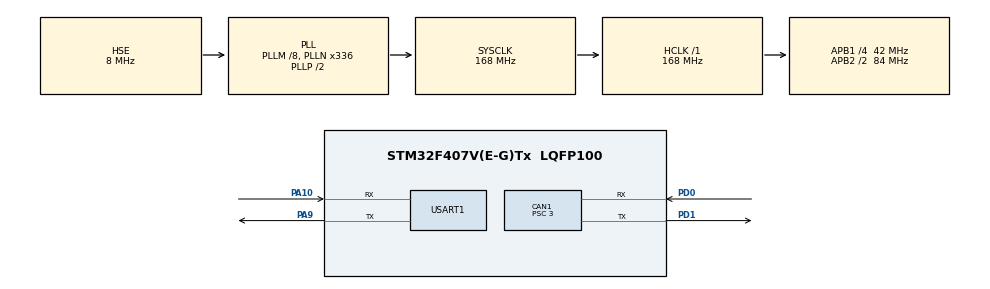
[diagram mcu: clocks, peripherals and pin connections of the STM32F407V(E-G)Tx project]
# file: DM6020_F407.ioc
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CAN1.ABOM=ENABLE
CAN1.BS1=CAN_BS1_11TQ
CAN1.BS2=CAN_BS2_2TQ
CAN1.CalculateBaudRate=1000000
CAN1.CalculateTimeBit=1000
CAN1.CalculateTimeQuantum=71.42857142857143
CAN1.NART=ENABLE
CAN1.Prescaler=3
Mcu.Family=STM32F4
Mcu.Name=STM32F407V(E-G)Tx
Mcu.Package=LQFP100
NVIC.CAN1_RX0_IRQn=true\:0\:0\:false\:false\:true\:true\:true\:true
NVIC.PriorityGroup=NVIC_PRIORITYGROUP_4
PA10.Mode=Asynchronous
PA10.Signal=USART1_RX
PA13.Mode=Serial_Wire
PA13.Signal=SYS_JTMS-SWDIO
PA14.Mode=Serial_Wire
PA14.Signal=SYS_JTCK-SWCLK
PA9.Mode=Asynchronous
PA9.Signal=USART1_TX
PD0.Mode=CAN_Activate
PD0.Signal=CAN1_RX
PD1.Mode=CAN_Activate
PD1.Signal=CAN1_TX
PH0-OSC_IN.Mode=HSE-External-Oscillator
PH0-OSC_IN.Signal=RCC_OSC_IN
PH1-OSC_OUT.Mode=HSE-External-Oscillator
PH1-OSC_OUT.Signal=RCC_OSC_OUT
ProjectManager.HeapSize=0x200
ProjectManager.StackSize=0x400
ProjectManager.TargetToolchain=STM32CubeIDE
RCC.48MHZClocksFreq_Value=84000000
RCC.AHBFreq_Value=168000000
RCC.APB1CLKDivider=RCC_HCLK_DIV4
RCC.APB1Freq_Value=42000000
RCC.APB1TimFreq_Value=84000000
RCC.APB2CLKDivider=RCC_HCLK_DIV2
RCC.APB2Freq_Value=84000000
RCC.APB2TimFreq_Value=168000000
RCC.CortexFreq_Value=168000000
RCC.HCLKFreq_Value=168000000
RCC.HSE_VALUE=8000000
RCC.HSI_VALUE=16000000
RCC.LSE_VALUE=32768
RCC.PLLM=8
RCC.PLLN=336
RCC.PLLSourceVirtual=RCC_PLLSOURCE_HSE
RCC.SYSCLKFreq_VALUE=168000000
RCC.SYSCLKSource=RCC_SYSCLKSOURCE_PLLCLK
RCC.VCOOutputFreq_Value=336000000
USART1.VirtualMode=VM_ASYNC
board=custom

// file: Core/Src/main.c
/* USER CODE BEGIN Header */
/**
  ******************************************************************************
  * @file           : main.c
  * @brief          : Main program body
  ******************************************************************************
  * @attention
  *
  * Copyright (c) 2026 STMicroelectronics.
  * All rights reserved.
  *
  * This software is licensed under terms that can be found in the LICENSE file
  * in the root directory of this software component.
  * If no LICENSE file comes with this software, it is provided AS-IS.
  *
  ******************************************************************************
  */
/* USER CODE END Header */
#include "main.h"

/* USER CODE BEGIN Includes */

#include <stdio.h>

/* USER CODE END Includes */

/* USER CODE BEGIN PD */

#define GM6020_CONTROL_PERIOD_MS          5U
#define GM6020_FEEDBACK_TIMEOUT_MS        100U
#define GM6020_SPEED_TEST_START_DELAY_MS  3000U
#define GM6020_SPEED_TEST_DURATION_MS     5000U
#define GM6020_SPEED_TARGET_RPM           10
#define GM6020_SPEED_KP                   100.0f
#define GM6020_SPEED_KI                   40.0f
#define GM6020_SPEED_INTEGRAL_LIMIT       1000.0f
#define GM6020_CONTROL_OUTPUT_LIMIT       1500
#define CAN1_LOOPBACK_TEST_ID              0x321U
#define CAN1_LOOPBACK_TEST_TIMEOUT_MS      20U

/* USER CODE END PD */

CAN_HandleTypeDef hcan1;

UART_HandleTypeDef huart1;

/* USER CODE BEGIN PV */

typedef enum
{
  GM6020_CONTROL_WAITING = 0,
  GM6020_CONTROL_RUNNING,
  GM6020_CONTROL_COMPLETE,
  GM6020_CONTROL_FEEDBACK_FAULT,
  GM6020_CONTROL_TX_FAULT
} GM6020_ControlState;

/* GM6020 raw feedback and CAN diagnostics for Live Expressions / Watch. */
volatile uint8_t gm6020_rx_data[8] = {0};
volatile uint32_t gm6020_rx_count = 0;
volatile uint32_t gm6020_last_rx_tick = 0;
volatile uint32_t can1_last_rx_id = 0;
volatile uint32_t can1_rx_error_count = 0;
volatile uint32_t can1_tx_error_count = 0;
volatile uint8_t can1_loopback_test_pass = 0;
volatile uint32_t can1_loopback_test_error = 0;
volatile uint32_t can1_esr_snapshot = 0;
volatile uint32_t can1_tsr_snapshot = 0;

static uint32_t vofa_last_tx_tick = 0;
static char vofa_tx_buffer[64];
static GM6020_ControlState gm6020_control_state = GM6020_CONTROL_WAITING;
static uint32_t gm6020_last_control_tick = 0;
static uint32_t gm6020_speed_test_start_tick = 0;
static int16_t gm6020_speed_target_rpm = 0;
static int16_t gm6020_speed_feedback_rpm = 0;
static int16_t gm6020_speed_error_rpm = 0;
static int32_t gm6020_speed_p_output = 0;
static int32_t gm6020_speed_i_output = 0;
static float gm6020_speed_integral = 0.0f;
static int16_t gm6020_control_output = 0;

/* USER CODE END PV */

void SystemClock_Config(void);
static void MX_GPIO_Init(void);
static void MX_CAN1_Init(void);
static void MX_USART1_UART_Init(void);
/* USER CODE BEGIN PFP */

HAL_StatusTypeDef GM6020_SendCurrent(int16_t iq1,
                                    int16_t iq2,
                                    int16_t iq3,
                                    int16_t iq4);
int16_t GM6020_LimitOutput(int32_t output);
void GM6020_ResetSpeedPI(void);
void GM6020_RunSpeedPIControl(uint32_t now);
static HAL_StatusTypeDef CAN1_ConfigAcceptAllFilter(void);
static uint8_t CAN1_RunLoopbackSelfTest(void);

/* USER CODE END PFP */

int main(void)
{

  /* MCU Configuration--------------------------------------------------------*/

  /* Reset of all peripherals, Initializes the Flash interface and the Systick. */
  HAL_Init();

  /* Configure the system clock */
  SystemClock_Config();

  /* Initialize all configured peripherals */
  MX_GPIO_Init();
  MX_CAN1_Init();
  MX_USART1_UART_Init();
  /* USER CODE BEGIN 2 */

  /* Verify the bxCAN core and bit-timing path without using the external
     transceiver, then automatically restore normal bus operation. */
  can1_loopback_test_pass = CAN1_RunLoopbackSelfTest();

  if (CAN1_ConfigAcceptAllFilter() != HAL_OK)
  {
    Error_Handler();
  }
  if (HAL_CAN_Start(&hcan1) != HAL_OK)
  {
    Error_Handler();
  }
  if (HAL_CAN_ActivateNotification(&hcan1,
                                   CAN_IT_RX_FIFO0_MSG_PENDING) != HAL_OK)
  {
    Error_Handler();
  }

  gm6020_last_control_tick = HAL_GetTick();
  vofa_last_tx_tick = HAL_GetTick();

/* USER CODE END 2 */

  /* Infinite loop */
  /* USER CODE BEGIN WHILE */
  while (1)
  {
    uint32_t now;

    now = HAL_GetTick();
    can1_esr_snapshot = CAN1->ESR;
    can1_tsr_snapshot = CAN1->TSR;

    if ((now - gm6020_last_control_tick) >= GM6020_CONTROL_PERIOD_MS)
    {
      gm6020_last_control_tick += GM6020_CONTROL_PERIOD_MS;

      if ((now - gm6020_last_control_tick) >= GM6020_CONTROL_PERIOD_MS)
      {
        gm6020_last_control_tick = now;
      }

      GM6020_RunSpeedPIControl(now);
    }

    if ((now - vofa_last_tx_tick) >= 50U)
    {
      int tx_length;

      vofa_last_tx_tick = now;

      tx_length = snprintf(vofa_tx_buffer,
                           sizeof(vofa_tx_buffer),
                           "speed_pi:%d,%d,%d,%ld,%ld,%d\r\n",
                           (int)gm6020_speed_target_rpm,
                           (int)gm6020_speed_feedback_rpm,
                           (int)gm6020_speed_error_rpm,
                           (long)gm6020_speed_p_output,
                           (long)gm6020_speed_i_output,
                           (int)gm6020_control_output);

      if ((tx_length > 0) &&
          ((size_t)tx_length < sizeof(vofa_tx_buffer)))
      {
        (void)HAL_UART_Transmit(&huart1,
                                (uint8_t *)vofa_tx_buffer,
                                (uint16_t)tx_length,
                                20U);
      }
    }
    /* USER CODE END WHILE */

  }
}

void SystemClock_Config(void)
{
  RCC_OscInitTypeDef RCC_OscInitStruct = {0};
  RCC_ClkInitTypeDef RCC_ClkInitStruct = {0};

  /** Configure the main internal regulator output voltage
  */
  __HAL_RCC_PWR_CLK_ENABLE();
  __HAL_PWR_VOLTAGESCALING_CONFIG(PWR_REGULATOR_VOLTAGE_SCALE1);

  /** Initializes the RCC Oscillators according to the specified parameters
  * in the RCC_OscInitTypeDef structure.
  */
  RCC_OscInitStruct.OscillatorType = RCC_OSCILLATORTYPE_HSE;
  RCC_OscInitStruct.HSEState = RCC_HSE_ON;
  RCC_OscInitStruct.PLL.PLLState = RCC_PLL_ON;
  RCC_OscInitStruct.PLL.PLLSource = RCC_PLLSOURCE_HSE;
  RCC_OscInitStruct.PLL.PLLM = 8;
  RCC_OscInitStruct.PLL.PLLN = 336;
  RCC_OscInitStruct.PLL.PLLP = RCC_PLLP_DIV2;
  RCC_OscInitStruct.PLL.PLLQ = 4;
  if (HAL_RCC_OscConfig(&RCC_OscInitStruct) != HAL_OK)
  {
    Error_Handler();
  }

  /** Initializes the CPU, AHB and APB buses clocks
  */
  RCC_ClkInitStruct.ClockType = RCC_CLOCKTYPE_HCLK|RCC_CLOCKTYPE_SYSCLK
                              |RCC_CLOCKTYPE_PCLK1|RCC_CLOCKTYPE_PCLK2;
  RCC_ClkInitStruct.SYSCLKSource = RCC_SYSCLKSOURCE_PLLCLK;
  RCC_ClkInitStruct.AHBCLKDivider = RCC_SYSCLK_DIV1;
  RCC_ClkInitStruct.APB1CLKDivider = RCC_HCLK_DIV4;
  RCC_ClkInitStruct.APB2CLKDivider = RCC_HCLK_DIV2;

  if (HAL_RCC_ClockConfig(&RCC_ClkInitStruct, FLASH_LATENCY_5) != HAL_OK)
  {
    Error_Handler();
  }
}

static void MX_CAN1_Init(void)
{

  hcan1.Instance = CAN1;
  hcan1.Init.Prescaler = 3;
  hcan1.Init.Mode = CAN_MODE_NORMAL;
  hcan1.Init.SyncJumpWidth = CAN_SJW_1TQ;
  hcan1.Init.TimeSeg1 = CAN_BS1_11TQ;
  hcan1.Init.TimeSeg2 = CAN_BS2_2TQ;
  hcan1.Init.TimeTriggeredMode = DISABLE;
  hcan1.Init.AutoBusOff = ENABLE;
  hcan1.Init.AutoWakeUp = DISABLE;
  hcan1.Init.AutoRetransmission = ENABLE;
  hcan1.Init.ReceiveFifoLocked = DISABLE;
  hcan1.Init.TransmitFifoPriority = DISABLE;
  if (HAL_CAN_Init(&hcan1) != HAL_OK)
  {
    Error_Handler();
  }

}

static void MX_USART1_UART_Init(void)
{

  huart1.Instance = USART1;
  huart1.Init.BaudRate = 115200;
  huart1.Init.WordLength = UART_WORDLENGTH_8B;
  huart1.Init.StopBits = UART_STOPBITS_1;
  huart1.Init.Parity = UART_PARITY_NONE;
  huart1.Init.Mode = UART_MODE_TX_RX;
  huart1.Init.HwFlowCtl = UART_HWCONTROL_NONE;
  huart1.Init.OverSampling = UART_OVERSAMPLING_16;
  if (HAL_UART_Init(&huart1) != HAL_OK)
  {
    Error_Handler();
  }

}

static void MX_GPIO_Init(void)
{

  /* GPIO Ports Clock Enable */
  __HAL_RCC_GPIOH_CLK_ENABLE();
  __HAL_RCC_GPIOA_CLK_ENABLE();
  __HAL_RCC_GPIOD_CLK_ENABLE();

}

/* USER CODE BEGIN 4 */

static HAL_StatusTypeDef CAN1_ConfigAcceptAllFilter(void)
{
  CAN_FilterTypeDef filter = {0};

  /* Keep the original behavior: accept all CAN frames into FIFO0, then
     select GM6020 feedback ID 0x205 in the receive callback. */
  filter.FilterBank = 0;
  filter.FilterMode = CAN_FILTERMODE_IDMASK;
  filter.FilterScale = CAN_FILTERSCALE_32BIT;
  filter.FilterIdHigh = 0;
  filter.FilterIdLow = 0;
  filter.FilterMaskIdHigh = 0;
  filter.FilterMaskIdLow = 0;
  filter.FilterFIFOAssignment = CAN_RX_FIFO0;
  filter.FilterActivation = ENABLE;
  filter.SlaveStartFilterBank = 14;

  return HAL_CAN_ConfigFilter(&hcan1, &filter);
}

static uint8_t CAN1_RunLoopbackSelfTest(void)
{
  CAN_TxHeaderTypeDef tx_header = {0};
  CAN_RxHeaderTypeDef rx_header;
  uint8_t tx_data[8] = {0xA5U, 0x5AU, 0x11U, 0x22U,
                        0x33U, 0x44U, 0x55U, 0x66U};
  uint8_t rx_data[8] = {0};
  uint32_t tx_mailbox;
  uint32_t start_tick;
  uint32_t i;
  uint8_t passed = 0U;

  can1_loopback_test_error = 0U;

  if (HAL_CAN_DeInit(&hcan1) != HAL_OK)
  {
    can1_loopback_test_error = 1U;
    goto restore_normal_mode;
  }

  hcan1.Init.Mode = CAN_MODE_LOOPBACK;
  if (HAL_CAN_Init(&hcan1) != HAL_OK)
  {
    can1_loopback_test_error = 2U;
    goto restore_normal_mode;
  }
  if (CAN1_ConfigAcceptAllFilter() != HAL_OK)
  {
    can1_loopback_test_error = 3U;
    goto restore_normal_mode;
  }
  if (HAL_CAN_Start(&hcan1) != HAL_OK)
  {
    can1_loopback_test_error = 4U;
    goto restore_normal_mode;
  }

  tx_header.StdId = CAN1_LOOPBACK_TEST_ID;
  tx_header.ExtId = 0U;
  tx_header.IDE = CAN_ID_STD;
  tx_header.RTR = CAN_RTR_DATA;
  tx_header.DLC = 8U;
  tx_header.TransmitGlobalTime = DISABLE;

  if (HAL_CAN_AddTxMessage(&hcan1,
                           &tx_header,
                           tx_data,
                           &tx_mailbox) != HAL_OK)
  {
    can1_loopback_test_error = 5U;
    goto restore_normal_mode;
  }

  start_tick = HAL_GetTick();
  while (HAL_CAN_GetRxFifoFillLevel(&hcan1, CAN_RX_FIFO0) == 0U)
  {
    if ((HAL_GetTick() - start_tick) >= CAN1_LOOPBACK_TEST_TIMEOUT_MS)
    {
      can1_loopback_test_error = 6U;
      goto restore_normal_mode;
    }
  }

  if (HAL_CAN_GetRxMessage(&hcan1,
                           CAN_RX_FIFO0,
                           &rx_header,
                           rx_data) != HAL_OK)
  {
    can1_loopback_test_error = 7U;
    goto restore_normal_mode;
  }

  if ((rx_header.IDE != CAN_ID_STD) ||
      (rx_header.RTR != CAN_RTR_DATA) ||
      (rx_header.StdId != CAN1_LOOPBACK_TEST_ID) ||
      (rx_header.DLC != 8U))
  {
    can1_loopback_test_error = 8U;
    goto restore_normal_mode;
  }

  for (i = 0; i < 8U; i++)
  {
    if (rx_data[i] != tx_data[i])
    {
      can1_loopback_test_error = 9U;
      goto restore_normal_mode;
    }
  }

  passed = 1U;

restore_normal_mode:
  (void)HAL_CAN_Stop(&hcan1);
  (void)HAL_CAN_DeInit(&hcan1);
  hcan1.Init.Mode = CAN_MODE_NORMAL;

  if (HAL_CAN_Init(&hcan1) != HAL_OK)
  {
    can1_loopback_test_error = 10U;
    return 0U;
  }

  return passed;
}

void HAL_CAN_RxFifo0MsgPendingCallback(CAN_HandleTypeDef *hcan)
{
  CAN_RxHeaderTypeDef rx_header;
  uint8_t rx_data[8];
  uint32_t i;

  if (hcan->Instance != CAN1)
  {
    return;
  }

  if (HAL_CAN_GetRxMessage(hcan,
                           CAN_RX_FIFO0,
                           &rx_header,
                           rx_data) != HAL_OK)
  {
    can1_rx_error_count++;
    return;
  }

  if (rx_header.IDE == CAN_ID_STD)
  {
    can1_last_rx_id = rx_header.StdId;
  }

  if ((rx_header.IDE == CAN_ID_STD) &&
      (rx_header.RTR == CAN_RTR_DATA) &&
      (rx_header.StdId == 0x205U) &&
      (rx_header.DLC == 8U))
  {
    for (i = 0; i < 8U; i++)
    {
      gm6020_rx_data[i] = rx_data[i];
    }

    gm6020_rx_count++;
    gm6020_last_rx_tick = HAL_GetTick();
  }
}

void GM6020_ResetSpeedPI(void)
{
  gm6020_speed_integral = 0.0f;
  gm6020_speed_i_output = 0;
}

void GM6020_RunSpeedPIControl(uint32_t now)
{
  uint8_t feedback[8];
  uint32_t feedback_count;
  uint32_t feedback_tick;
  uint8_t feedback_fresh;
  float integral_candidate;
  float unsaturated_output;
  uint32_t i;

  __disable_irq();
  for (i = 0; i < 8U; i++)
  {
    feedback[i] = gm6020_rx_data[i];
  }
  feedback_count = gm6020_rx_count;
  feedback_tick = gm6020_last_rx_tick;
  __enable_irq();

  gm6020_speed_feedback_rpm =
      (int16_t)(((uint16_t)feedback[2] << 8) | feedback[3]);
  feedback_fresh = ((feedback_count > 0U) &&
                    ((now - feedback_tick) <= GM6020_FEEDBACK_TIMEOUT_MS)) ? 1U : 0U;

  gm6020_speed_target_rpm = 0;
  gm6020_speed_error_rpm =
      gm6020_speed_target_rpm - gm6020_speed_feedback_rpm;
  gm6020_speed_p_output = 0;
  gm6020_control_output = 0;

  switch (gm6020_control_state)
  {
    case GM6020_CONTROL_WAITING:
      GM6020_ResetSpeedPI();

      if ((now >= GM6020_SPEED_TEST_START_DELAY_MS) &&
          (feedback_fresh != 0U))
      {
        gm6020_control_state = GM6020_CONTROL_RUNNING;
        gm6020_speed_test_start_tick = now;
      }
      break;

    case GM6020_CONTROL_RUNNING:
      if (feedback_fresh == 0U)
      {
        gm6020_control_state = GM6020_CONTROL_FEEDBACK_FAULT;
        GM6020_ResetSpeedPI();
      }
      else if ((now - gm6020_speed_test_start_tick) >=
               GM6020_SPEED_TEST_DURATION_MS)
      {
        gm6020_control_state = GM6020_CONTROL_COMPLETE;
        GM6020_ResetSpeedPI();
      }
      else
      {
        gm6020_speed_target_rpm = GM6020_SPEED_TARGET_RPM;
        gm6020_speed_error_rpm =
            gm6020_speed_target_rpm - gm6020_speed_feedback_rpm;
        gm6020_speed_p_output =
            (int32_t)(GM6020_SPEED_KP *
                      (float)gm6020_speed_error_rpm);

        integral_candidate =
            gm6020_speed_integral +
            (GM6020_SPEED_KI *
             (float)gm6020_speed_error_rpm *
             ((float)GM6020_CONTROL_PERIOD_MS / 1000.0f));

        if (integral_candidate > GM6020_SPEED_INTEGRAL_LIMIT)
        {
          integral_candidate = GM6020_SPEED_INTEGRAL_LIMIT;
        }
        else if (integral_candidate < -GM6020_SPEED_INTEGRAL_LIMIT)
        {
          integral_candidate = -GM6020_SPEED_INTEGRAL_LIMIT;
        }

        unsaturated_output =
            (float)gm6020_speed_p_output + integral_candidate;

        /* Do not integrate farther into output saturation, but allow the
           integral term to unwind when the error changes direction. */
        if (!(((unsaturated_output >
                (float)GM6020_CONTROL_OUTPUT_LIMIT) &&
               (gm6020_speed_error_rpm > 0)) ||
              ((unsaturated_output <
                -(float)GM6020_CONTROL_OUTPUT_LIMIT) &&
               (gm6020_speed_error_rpm < 0))))
        {
          gm6020_speed_integral = integral_candidate;
        }

        gm6020_speed_i_output = (int32_t)gm6020_speed_integral;
        gm6020_control_output = GM6020_LimitOutput(
            gm6020_speed_p_output + gm6020_speed_i_output);
      }
      break;

    case GM6020_CONTROL_COMPLETE:
    case GM6020_CONTROL_FEEDBACK_FAULT:
    case GM6020_CONTROL_TX_FAULT:
    default:
      GM6020_ResetSpeedPI();
      break;
  }

  if (GM6020_SendCurrent(gm6020_control_output, 0, 0, 0) != HAL_OK)
  {
    gm6020_control_output = 0;
    GM6020_ResetSpeedPI();

    if (gm6020_control_state == GM6020_CONTROL_RUNNING)
    {
      gm6020_control_state = GM6020_CONTROL_TX_FAULT;
    }
  }
}

int16_t GM6020_LimitOutput(int32_t output)
{
  if (output > GM6020_CONTROL_OUTPUT_LIMIT)
  {
    output = GM6020_CONTROL_OUTPUT_LIMIT;
  }
  else if (output < -GM6020_CONTROL_OUTPUT_LIMIT)
  {
    output = -GM6020_CONTROL_OUTPUT_LIMIT;
  }

  return (int16_t)output;
}

HAL_StatusTypeDef GM6020_SendCurrent(int16_t iq1,
                                    int16_t iq2,
                                    int16_t iq3,
                                    int16_t iq4)
{
  CAN_TxHeaderTypeDef tx_header = {0};
  uint8_t tx_data[8];
  uint32_t tx_mailbox;
  HAL_StatusTypeDef status;

  tx_header.StdId = 0x1FFU;
  tx_header.ExtId = 0U;
  tx_header.IDE = CAN_ID_STD;
  tx_header.RTR = CAN_RTR_DATA;
  tx_header.DLC = 8U;
  tx_header.TransmitGlobalTime = DISABLE;

  tx_data[0] = (uint8_t)((uint16_t)iq1 >> 8);
  tx_data[1] = (uint8_t)iq1;
  tx_data[2] = (uint8_t)((uint16_t)iq2 >> 8);
  tx_data[3] = (uint8_t)iq2;
  tx_data[4] = (uint8_t)((uint16_t)iq3 >> 8);
  tx_data[5] = (uint8_t)iq3;
  tx_data[6] = (uint8_t)((uint16_t)iq4 >> 8);
  tx_data[7] = (uint8_t)iq4;

  status = HAL_CAN_AddTxMessage(&hcan1,
                                &tx_header,
                                tx_data,
                                &tx_mailbox);
  if (status != HAL_OK)
  {
    can1_tx_error_count++;
  }

  return status;
}

/* USER CODE END 4 */

void Error_Handler(void)
{
  __disable_irq();
  while (1)
  {
  }
}
